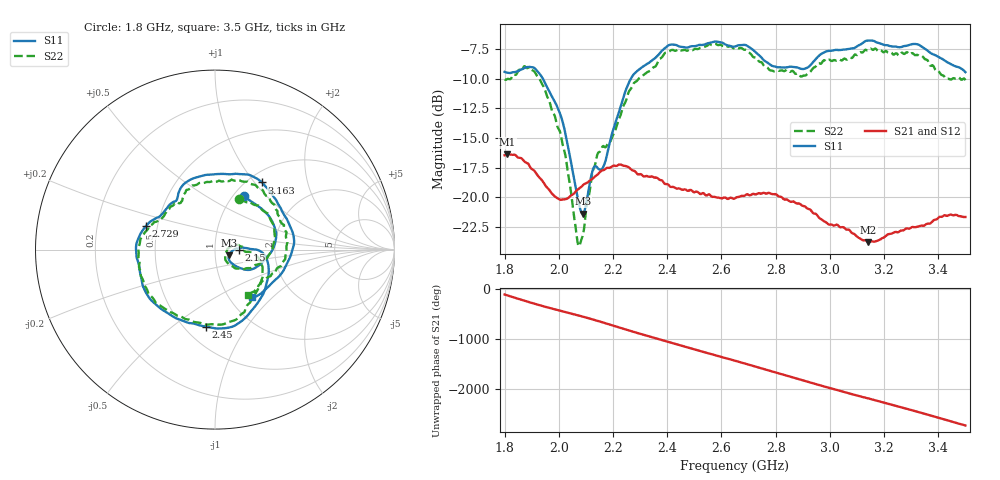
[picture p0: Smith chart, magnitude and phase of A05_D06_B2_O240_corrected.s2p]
! Created with skrf 1.9.0 (http://scikit-rf.org).
# Hz S RI R 50.0
!freq ReS11 ImS11 ReS21 ImS21 ReS12 ImS12 ReS22 ImS22
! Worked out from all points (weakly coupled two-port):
!   1601 points, 1.8 GHz to 3.5 GHz, reference 50 ohm
!   highest |S21| = -16.37 dB at 1.811 GHz (marker M1); lowest = -23.8 dB at 3.142 GHz (marker M2)
!   lowest |S11| = -21.4 dB at 2.089 GHz (marker M3), VSWR 1.19, Z = 58.5 - j3.62 ohm
!   |S11| at or under -10 dB: 1.942 GHz to 2.265 GHz (323.7 MHz wide, 15.4 % of centre)
!   |S22| runs from -24.1 to -7.0 dB; largest |S21 - S12| = 0.0025
!   S11 on the Smith chart (normalised r, x): 1.8 GHz: 1.12, +0.75; 2.15 GHz: 1.30, +0.00; 2.45 GHz: 0.63, -0.67; 2.729 GHz: 0.43, +0.13; 3.163 GHz: 1.16, +1.09; 3.5 GHz: 1.27, -0.76
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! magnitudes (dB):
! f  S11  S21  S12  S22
! 1.8 GHz  -9.4  -16.5  -16.4  -10.1
! 1.811 GHz  -9.5  -16.4  -16.4  -10.0
! 1.881 GHz  -9.0  -17.1  -17.1  -9.1
! 1.942 GHz  -10.0  -18.7  -18.7  -10.6
! 2.011 GHz  -13.4  -20.2  -20.2  -15.2
! 2.068 GHz  -19.8  -19.4  -19.4  -23.6
! 2.084 GHz  -21.3  -19.1  -19.1  -23.5
! 2.089 GHz  -21.4  -19.0  -19.0  -23.2
! 2.126 GHz  -17.6  -18.4  -18.4  -17.7
! 2.15 GHz  -17.7  -17.9  -17.9  -16.2
! 2.196 GHz  -14.6  -17.4  -17.4  -15.0
! 2.263 GHz  -10.1  -17.6  -17.6  -10.9
! 2.367 GHz  -8.0  -18.4  -18.4  -8.5
! 2.45 GHz  -7.3  -19.3  -19.3  -7.6
! 2.65 GHz  -7.3  -20.1  -20.1  -7.4
! 2.729 GHz  -7.8  -19.8  -19.8  -8.2
! 2.934 GHz  -8.7  -21.2  -21.2  -9.2
! 3.142 GHz  -6.8  -23.8  -23.7  -7.6
! 3.163 GHz  -6.8  -23.8  -23.7  -7.5
! 3.217 GHz  -7.2  -23.1  -23.1  -7.8
! 3.324 GHz  -7.1  -22.5  -22.4  -8.0
! 3.5 GHz  -9.4  -21.7  -21.6  -10.1
